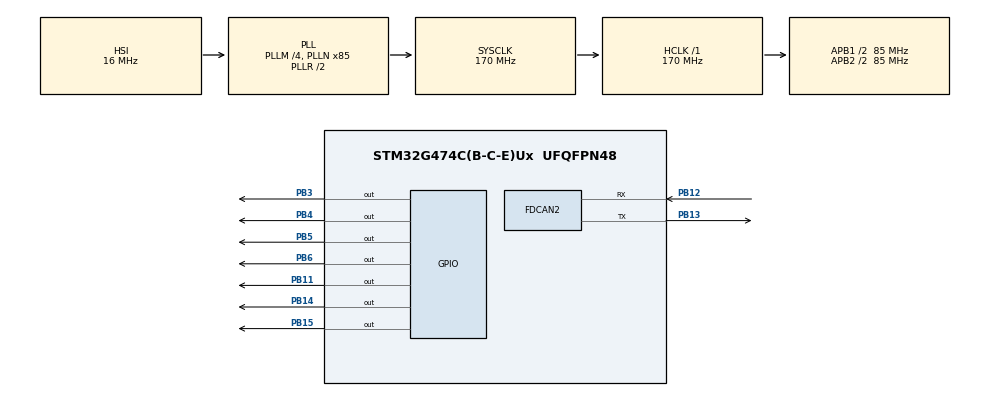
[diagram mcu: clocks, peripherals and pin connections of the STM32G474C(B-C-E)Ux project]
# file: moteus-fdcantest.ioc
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FDCAN2.DataSyncJumpWidth=5
FDCAN2.DataTimeSeg1=11
FDCAN2.DataTimeSeg2=5
FDCAN2.NominalSyncJumpWidth=16
FDCAN2.NominalTimeSeg1=56
FDCAN2.NominalTimeSeg2=28
Mcu.Family=STM32G4
Mcu.Name=STM32G474C(B-C-E)Ux
Mcu.Package=UFQFPN48
NVIC.PriorityGroup=NVIC_PRIORITYGROUP_4
PB11.Signal=GPIO_Output
PB12.Mode=FDCANFD
PB12.Signal=FDCAN2_RX
PB13.Mode=FDCANFD
PB13.Signal=FDCAN2_TX
PB14.Signal=GPIO_Output
PB15.Signal=GPIO_Output
PB3.Signal=GPIO_Output
PB4.Signal=GPIO_Output
PB5.Signal=GPIO_Output
PB6.Signal=GPIO_Output
ProjectManager.HeapSize=0x200
ProjectManager.StackSize=0x400
ProjectManager.TargetToolchain=Makefile
RCC.ADC12Freq_Value=170000000
RCC.ADC345Freq_Value=170000000
RCC.AHBFreq_Value=170000000
RCC.APB1CLKDivider=RCC_HCLK_DIV2
RCC.APB1Freq_Value=85000000
RCC.APB1TimFreq_Value=170000000
RCC.APB2CLKDivider=RCC_HCLK_DIV2
RCC.APB2Freq_Value=85000000
RCC.APB2TimFreq_Value=170000000
RCC.CortexFreq_Value=170000000
RCC.EXTERNAL_CLOCK_VALUE=12288000
RCC.HCLKFreq_Value=170000000
RCC.HSE_VALUE=8000000
RCC.HSI48_VALUE=48000000
RCC.HSI_VALUE=16000000
RCC.LSE_VALUE=32768
RCC.PLLM=RCC_PLLM_DIV4
RCC.PLLN=85
RCC.SYSCLKFreq_VALUE=170000000
RCC.SYSCLKSource=RCC_SYSCLKSOURCE_PLLCLK
RCC.USBFreq_Value=170000000
RCC.VCOOutputFreq_Value=340000000
VP_SYS_VS_DBSignals.Mode=DisableDeadBatterySignals
board=custom

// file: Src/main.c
/* USER CODE BEGIN Header */
/**
  ******************************************************************************
  * @file           : main.c
  * @brief          : Main program body
  ******************************************************************************
  * @attention
  *
  * <h2><center>&copy; Copyright (c) 2021 STMicroelectronics.
  * All rights reserved.</center></h2>
  *
  * This software component is licensed by ST under BSD 3-Clause license,
  * the "License"; You may not use this file except in compliance with the
  * License. You may obtain a copy of the License at:
  *                        opensource.org/licenses/BSD-3-Clause
  *
  ******************************************************************************
  */
/* USER CODE END Header */

#include "main.h"

FDCAN_HandleTypeDef hfdcan2;

void SystemClock_Config(void);
static void MX_GPIO_Init(void);
static void MX_FDCAN2_Init(void);

int main(void)
{

  /* MCU Configuration--------------------------------------------------------*/

  /* Reset of all peripherals, Initializes the Flash interface and the Systick. */
  HAL_Init();

  /* Configure the system clock */
  SystemClock_Config();

  /* Initialize all configured peripherals */
  MX_GPIO_Init();
  MX_FDCAN2_Init();
  /* USER CODE BEGIN 2 */

  // Set the lines necessary for the fdcanusb board to work.
  HAL_GPIO_WritePin(GPIOB, GPIO_PIN_11, 0);  // Standby inactive
  HAL_GPIO_WritePin(GPIOB, GPIO_PIN_14, 0);  // Termination active
  HAL_GPIO_WritePin(GPIOB, GPIO_PIN_15, 0);  // Shutdown inactive

  if (HAL_FDCAN_Start(&hfdcan2) != HAL_OK) {
    Error_Handler();
  }

  if (HAL_FDCAN_ActivateNotification(
          &hfdcan2, FDCAN_IT_RX_FIFO0_NEW_MESSAGE, 0) != HAL_OK) {
    Error_Handler();
  }

  FDCAN_ProtocolStatusTypeDef can_status = {};

  FDCAN_RxHeaderTypeDef rx_header = {};
  uint8_t rx_data[64] = {};

  FDCAN_TxHeaderTypeDef tx_header = {};
  uint8_t tx_data[64] = {};

  tx_header.Identifier = 0x8001;
  tx_header.IdType = FDCAN_EXTENDED_ID;
  tx_header.TxFrameType = FDCAN_DATA_FRAME;
  tx_header.DataLength = FDCAN_DLC_BYTES_5;
  tx_header.ErrorStateIndicator = FDCAN_ESI_ACTIVE;
  tx_header.BitRateSwitch = FDCAN_BRS_ON;
  tx_header.FDFormat = FDCAN_FD_CAN;
  tx_header.TxEventFifoControl = FDCAN_NO_TX_EVENTS;
  tx_header.MessageMarker = 0;

  tx_data[0] = 0x01;  // write 1 int8
  tx_data[1] = 0x00;  // to register 0
  tx_data[2] = 0x00;  // and the value is 0 (STOP)
  tx_data[3] = 0x16;  // read 2 int16s
  tx_data[4] = 0x00;  // starting from register 0

  uint32_t last_emit = 0;

  /* USER CODE END 2 */

  /* Infinite loop */
  while (1)
  {

    /* USER CODE BEGIN 3 */

    // The SysTick timer counts down.
    const uint32_t now = HAL_GetTick();
    const uint32_t delta = now - last_emit;
    if (delta > 500) {  // We send at 2Hz (500ms)
      HAL_GPIO_TogglePin(GPIOB, GPIO_PIN_3);  // PB3 is TX
      last_emit = now;

      HAL_FDCAN_AddMessageToTxFifoQ(
          &hfdcan2, &tx_header, &tx_data[0]);
    }

    if (HAL_FDCAN_GetRxMessage(
            &hfdcan2, FDCAN_RX_FIFO0,
            &rx_header, &rx_data[0]) == HAL_OK) {
      // We have data.
      HAL_GPIO_TogglePin(GPIOB, GPIO_PIN_4);  // PB4 is labeled as RX
    }

    // If we have gotten into a BusOff state, recover.
    HAL_FDCAN_GetProtocolStatus(&hfdcan2, &can_status);
    if (can_status.BusOff) {
      HAL_GPIO_TogglePin(GPIOB, GPIO_PIN_5);  // PB6 is labeled as COM
      hfdcan2.Instance->CCCR &= ~FDCAN_CCCR_INIT;
    }

  }
  /* USER CODE END 3 */
}

void SystemClock_Config(void)
{
  RCC_OscInitTypeDef RCC_OscInitStruct = {0};
  RCC_ClkInitTypeDef RCC_ClkInitStruct = {0};
  RCC_PeriphCLKInitTypeDef PeriphClkInit = {0};

  /** Configure the main internal regulator output voltage
  */
  HAL_PWREx_ControlVoltageScaling(PWR_REGULATOR_VOLTAGE_SCALE1_BOOST);
  /** Initializes the CPU, AHB and APB busses clocks
  */
  RCC_OscInitStruct.OscillatorType = RCC_OSCILLATORTYPE_HSI;
  RCC_OscInitStruct.HSIState = RCC_HSI_ON;
  RCC_OscInitStruct.HSICalibrationValue = RCC_HSICALIBRATION_DEFAULT;
  RCC_OscInitStruct.PLL.PLLState = RCC_PLL_ON;
  RCC_OscInitStruct.PLL.PLLSource = RCC_PLLSOURCE_HSI;
  RCC_OscInitStruct.PLL.PLLM = RCC_PLLM_DIV4;
  RCC_OscInitStruct.PLL.PLLN = 85;
  RCC_OscInitStruct.PLL.PLLP = RCC_PLLP_DIV2;
  RCC_OscInitStruct.PLL.PLLQ = RCC_PLLQ_DIV2;
  RCC_OscInitStruct.PLL.PLLR = RCC_PLLR_DIV2;
  if (HAL_RCC_OscConfig(&RCC_OscInitStruct) != HAL_OK)
  {
    Error_Handler();
  }
  /** Initializes the CPU, AHB and APB busses clocks
  */
  RCC_ClkInitStruct.ClockType = RCC_CLOCKTYPE_HCLK|RCC_CLOCKTYPE_SYSCLK
                              |RCC_CLOCKTYPE_PCLK1|RCC_CLOCKTYPE_PCLK2;
  RCC_ClkInitStruct.SYSCLKSource = RCC_SYSCLKSOURCE_PLLCLK;
  RCC_ClkInitStruct.AHBCLKDivider = RCC_SYSCLK_DIV1;
  RCC_ClkInitStruct.APB1CLKDivider = RCC_HCLK_DIV2;
  RCC_ClkInitStruct.APB2CLKDivider = RCC_HCLK_DIV2;

  if (HAL_RCC_ClockConfig(&RCC_ClkInitStruct, FLASH_LATENCY_8) != HAL_OK)
  {
    Error_Handler();
  }
  /** Initializes the peripherals clocks
  */
  PeriphClkInit.PeriphClockSelection = RCC_PERIPHCLK_FDCAN;
  PeriphClkInit.FdcanClockSelection = RCC_FDCANCLKSOURCE_PCLK1;
  if (HAL_RCCEx_PeriphCLKConfig(&PeriphClkInit) != HAL_OK)
  {
    Error_Handler();
  }
}

static void MX_FDCAN2_Init(void)
{

  hfdcan2.Instance = FDCAN2;
  hfdcan2.Init.FrameFormat = FDCAN_FRAME_FD_BRS;
  hfdcan2.Init.Mode = FDCAN_MODE_NORMAL;
  hfdcan2.Init.AutoRetransmission = ENABLE;
  hfdcan2.Init.TransmitPause = ENABLE;
  hfdcan2.Init.ProtocolException = DISABLE;
  hfdcan2.Init.NominalPrescaler = 1;
  hfdcan2.Init.NominalSyncJumpWidth = 16;
  hfdcan2.Init.NominalTimeSeg1 = 56;
  hfdcan2.Init.NominalTimeSeg2 = 28;
  hfdcan2.Init.DataPrescaler = 1;
  hfdcan2.Init.DataSyncJumpWidth = 5;
  hfdcan2.Init.DataTimeSeg1 = 11;
  hfdcan2.Init.DataTimeSeg2 = 5;
  hfdcan2.Init.StdFiltersNbr = 0;
  hfdcan2.Init.ExtFiltersNbr = 0;
  hfdcan2.Init.TxFifoQueueMode = FDCAN_TX_FIFO_OPERATION;
  if (HAL_FDCAN_Init(&hfdcan2) != HAL_OK)
  {
    Error_Handler();
  }

  /* USER CODE BEGIN FDCAN2_Init 2 */

  if (HAL_FDCAN_ConfigGlobalFilter(
          &hfdcan2,
          FDCAN_ACCEPT_IN_RX_FIFO0,
          FDCAN_ACCEPT_IN_RX_FIFO0,
          FDCAN_FILTER_REMOTE,
          FDCAN_FILTER_REMOTE) != HAL_OK) {
    Error_Handler();
  }
  /* USER CODE END FDCAN2_Init 2 */

}

static void MX_GPIO_Init(void)
{
  GPIO_InitTypeDef GPIO_InitStruct = {0};

  /* GPIO Ports Clock Enable */
  __HAL_RCC_GPIOB_CLK_ENABLE();

  /*Configure GPIO pin Output Level */
  HAL_GPIO_WritePin(GPIOB, GPIO_PIN_11|GPIO_PIN_14|GPIO_PIN_15|GPIO_PIN_3
                          |GPIO_PIN_4|GPIO_PIN_5|GPIO_PIN_6, GPIO_PIN_RESET);

  /*Configure GPIO pins : PB11 PB14 PB15 PB3
                           PB4 PB5 PB6 */
  GPIO_InitStruct.Pin = GPIO_PIN_11|GPIO_PIN_14|GPIO_PIN_15|GPIO_PIN_3
                          |GPIO_PIN_4|GPIO_PIN_5|GPIO_PIN_6;
  GPIO_InitStruct.Mode = GPIO_MODE_OUTPUT_PP;
  GPIO_InitStruct.Pull = GPIO_NOPULL;
  GPIO_InitStruct.Speed = GPIO_SPEED_FREQ_LOW;
  HAL_GPIO_Init(GPIOB, &GPIO_InitStruct);

}

void Error_Handler(void)
{
  /* USER CODE BEGIN Error_Handler_Debug */
  /* User can add his own implementation to report the HAL error return state */
  while (1) {
    HAL_GPIO_WritePin(GPIOB, GPIO_PIN_4,
                      (HAL_GetTick() / 500) & 0x01);  // PB4 is labeled as PWR
  }

  /* USER CODE END Error_Handler_Debug */
}

/************************ (C) COPYRIGHT STMicroelectronics *****END OF FILE****/
